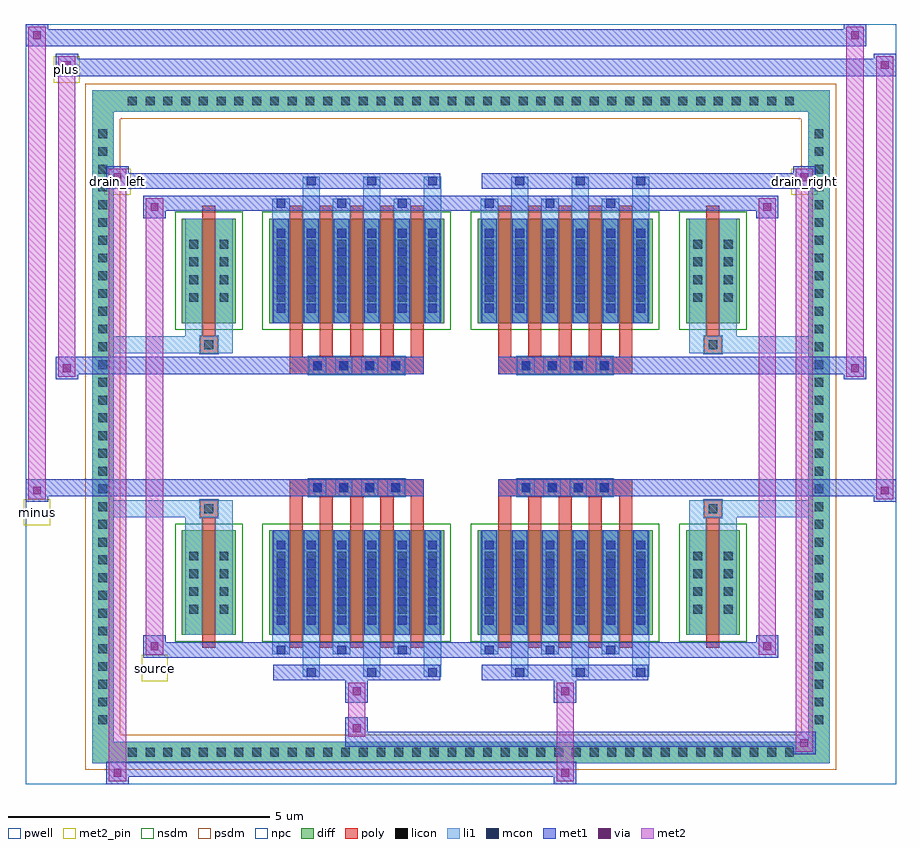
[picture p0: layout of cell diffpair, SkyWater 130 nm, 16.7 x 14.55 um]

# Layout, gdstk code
import gdstk
lib = gdstk.Library(unit=1e-6, precision=5e-09)
def R(c, l, rs):  # rectangles x0, y0, x1, y1
    for r in rs: c.add(gdstk.rectangle(r[:2], r[2:], *l))
def A(c, l, x, y, w, h, nx, ny, dx, dy):  # array of equal rectangles
    R(c, l, [(x+i*dx, y+j*dy, x+i*dx+w, y+j*dy+h) for i in range(nx) for j in range(ny)])
def P(c, l, *ps):  # polygons
    for p in ps: c.add(gdstk.Polygon(p, *l))
pwell = (64, 44)
diff = (65, 20)
poly = (66, 20)
licon = (66, 44)
li1 = (67, 20)
mcon = (67, 44)
met1 = (68, 20)
via = (68, 44)
met2_pin = (69, 16)
met2 = (69, 20)
nsdm = (93, 44)
psdm = (94, 20)
npc = (95, 20)

diffpair = lib.new_cell('diffpair')
R(diffpair, pwell, [(-8.33,-6.84,8.33,7.71), (-5.65,-5.03,-0.01,-0.805), (0.01,-5.03,5.65,-0.805), (-5.65,0.805,-0.01,5.03), (0.01,0.805,5.65,5.03)])
A(diffpair, diff, -6.495, -6.44, 0.41, 0.41, 38, 2, 0.34, 12.47)
A(diffpair, diff, -7.06, -5.815, 0.41, 0.41, 1, 34, 0, 0.34)
A(diffpair, diff, 6.65, -5.815, 0.41, 0.41, 1, 34, 0, 0.34)
R(diffpair, diff, [(-6.495,-6.44,6.495,-6.03), (-7.06,-5.815,-6.65,5.815), (6.65,-5.815,7.06,5.815), (-5.34,-3.985,-4.31,-1.985), (-3.67,-3.985,-0.32,-1.985), (0.32,-3.985,3.67,-1.985), (4.31,-3.985,5.34,-1.985), (-5.34,1.985,-4.31,3.985), (-3.67,1.985,-0.32,3.985), (0.32,1.985,3.67,3.985), (4.31,1.985,5.34,3.985), (-6.495,6.03,6.495,6.44)])
P(diffpair, diff, [(7.06,6.44),(-7.06,6.44),(-7.06,-6.03),(-6.65,-6.03),(-6.65,6.03),(6.65,6.03),(6.65,-6.03),(-6.65,-6.03),(-7.06,-6.03),(-7.06,-6.44),(7.06,-6.44)])
A(diffpair, poly, -3.28, -4.235, 0.25, 2.5, 5, 2, 0.58, 5.97)
A(diffpair, poly, 0.71, -4.235, 0.25, 2.5, 5, 2, 0.58, 5.97)
A(diffpair, poly, -3.28, -1.735, 0.25, 0.4, 5, 2, 0.58, 3.07)
A(diffpair, poly, 0.71, -1.735, 0.25, 0.4, 5, 2, 0.58, 3.07)
A(diffpair, poly, -2.91, -1.335, 0.33, 0.33, 4, 2, 0.5, 2.34)
A(diffpair, poly, 1.08, -1.335, 0.33, 0.33, 4, 2, 0.5, 2.34)
R(diffpair, poly, [(-4.95,-4.235,-4.7,-1.735), (4.7,-4.235,4.95,-1.735), (-4.99,-1.735,-4.66,-1.405), (-4.99,-1.735,-4.66,-1.405), (4.66,-1.735,4.99,-1.405), (4.66,-1.735,4.99,-1.405), (-3.28,-1.335,-0.71,-1.005), (0.71,-1.335,3.28,-1.005), (-3.28,1.005,-0.71,1.335), (0.71,1.005,3.28,1.335), (-4.99,1.405,-4.66,1.735), (-4.99,1.405,-4.66,1.735), (4.66,1.405,4.99,1.735), (4.66,1.405,4.99,1.735), (-4.95,1.735,-4.7,4.235), (4.7,1.735,4.95,4.235)])
A(diffpair, licon, -6.375, -6.32, 0.17, 0.17, 38, 2, 0.34, 12.47)
A(diffpair, licon, -6.94, -5.695, 0.17, 0.17, 1, 34, 0, 0.34)
A(diffpair, licon, 6.77, -5.695, 0.17, 0.17, 1, 34, 0, 0.34)
A(diffpair, licon, -5.2, -3.58, 0.17, 0.17, 1, 4, 0, 0.34)
A(diffpair, licon, -4.62, -3.58, 0.17, 0.17, 1, 4, 0, 0.34)
A(diffpair, licon, -3.53, -3.58, 0.17, 0.17, 6, 4, 0.58, 0.34)
A(diffpair, licon, 0.46, -3.58, 0.17, 0.17, 6, 4, 0.58, 0.34)
A(diffpair, licon, 4.45, -3.58, 0.17, 0.17, 1, 4, 0, 0.34)
A(diffpair, licon, 5.03, -3.58, 0.17, 0.17, 1, 4, 0, 0.34)
A(diffpair, licon, -2.83, -1.255, 0.17, 0.17, 4, 2, 0.5, 2.34)
A(diffpair, licon, 1.16, -1.255, 0.17, 0.17, 4, 2, 0.5, 2.34)
A(diffpair, licon, -5.2, 2.39, 0.17, 0.17, 1, 4, 0, 0.34)
A(diffpair, licon, -4.62, 2.39, 0.17, 0.17, 1, 4, 0, 0.34)
A(diffpair, licon, -3.53, 2.39, 0.17, 0.17, 6, 4, 0.58, 0.34)
A(diffpair, licon, 0.46, 2.39, 0.17, 0.17, 6, 4, 0.58, 0.34)
A(diffpair, licon, 4.45, 2.39, 0.17, 0.17, 1, 4, 0, 0.34)
A(diffpair, licon, 5.03, 2.39, 0.17, 0.17, 1, 4, 0, 0.34)
R(diffpair, licon, [(-4.91,-1.655,-4.74,-1.485), (4.74,-1.655,4.91,-1.485), (-4.91,1.485,-4.74,1.655), (4.74,1.485,4.91,1.655)])
A(diffpair, li1, -6.455, -6.4, 0.33, 0.33, 38, 2, 0.34, 12.47)
A(diffpair, li1, -7.02, -5.775, 0.33, 0.33, 1, 34, 0, 0.34)
A(diffpair, li1, 6.69, -5.775, 0.33, 0.33, 1, 34, 0, 0.34)
A(diffpair, li1, -3.03, -4.79, 0.33, 0.805, 3, 2, 1.16, 8.775)
A(diffpair, li1, -2.95, -4.79, 0.17, 0.17, 3, 2, 1.16, 9.41)
A(diffpair, li1, 0.96, -4.79, 0.33, 0.805, 3, 2, 1.16, 8.775)
A(diffpair, li1, 1.04, -4.79, 0.17, 0.17, 3, 2, 1.16, 9.41)
A(diffpair, li1, -3.61, -4.36, 0.33, 0.375, 3, 2, 1.16, 8.345)
A(diffpair, li1, -3.53, -4.36, 0.17, 0.17, 3, 2, 1.16, 8.55)
A(diffpair, li1, 0.38, -4.36, 0.33, 0.375, 3, 2, 1.16, 8.345)
A(diffpair, li1, 0.46, -4.36, 0.17, 0.17, 3, 2, 1.16, 8.55)
A(diffpair, li1, -3.61, -3.985, 0.33, 2, 6, 2, 0.58, 5.97)
A(diffpair, li1, 0.38, -3.985, 0.33, 2, 6, 2, 0.58, 5.97)
A(diffpair, li1, -3.53, -3.79, 0.17, 0.17, 6, 5, 0.58, 0.36)
A(diffpair, li1, -3.53, -3.79, 0.17, 1.61, 6, 2, 0.58, 5.97)
A(diffpair, li1, 0.46, -3.79, 0.17, 0.17, 6, 5, 0.58, 0.36)
A(diffpair, li1, 0.46, -3.79, 0.17, 1.61, 6, 2, 0.58, 5.97)
A(diffpair, li1, -5.28, -3.66, 0.33, 0.33, 1, 4, 0, 0.34)
A(diffpair, li1, -4.7, -3.66, 0.33, 0.33, 1, 4, 0, 0.34)
A(diffpair, li1, -3.61, -3.66, 0.33, 0.33, 6, 4, 0.58, 0.34)
A(diffpair, li1, 0.38, -3.66, 0.33, 0.33, 6, 4, 0.58, 0.34)
A(diffpair, li1, 4.37, -3.66, 0.33, 0.33, 1, 4, 0, 0.34)
A(diffpair, li1, 4.95, -3.66, 0.33, 0.33, 1, 4, 0, 0.34)
A(diffpair, li1, -2.91, -1.335, 0.33, 0.33, 4, 2, 0.5, 2.34)
A(diffpair, li1, 1.08, -1.335, 0.33, 0.33, 4, 2, 0.5, 2.34)
A(diffpair, li1, -3.53, 2.18, 0.17, 0.17, 6, 5, 0.58, 0.36)
A(diffpair, li1, 0.46, 2.18, 0.17, 0.17, 6, 5, 0.58, 0.36)
A(diffpair, li1, -5.28, 2.31, 0.33, 0.33, 1, 4, 0, 0.34)
A(diffpair, li1, -4.7, 2.31, 0.33, 0.33, 1, 4, 0, 0.34)
A(diffpair, li1, -3.61, 2.31, 0.33, 0.33, 6, 4, 0.58, 0.34)
A(diffpair, li1, 0.38, 2.31, 0.33, 0.33, 6, 4, 0.58, 0.34)
A(diffpair, li1, 4.37, 2.31, 0.33, 0.33, 1, 4, 0, 0.34)
A(diffpair, li1, 4.95, 2.31, 0.33, 0.33, 1, 4, 0, 0.34)
R(diffpair, li1, [(-7.06,-6.44,-6.65,-6.03), (-7.06,-6.44,-6.65,-6.03), (-6.65,-6.44,6.65,-6.03), (6.65,-6.44,7.06,-6.03), (6.65,-6.44,7.06,-6.03), (-7.06,-6.03,-6.65,6.03), (6.65,-6.03,7.06,6.03), (-5.28,-3.985,-4.95,-1.985), (-4.7,-3.985,-4.37,-1.985), (4.37,-3.985,4.7,-1.985), (4.95,-3.985,5.28,-1.985), (-5.28,-1.985,-4.95,-1.405), (-4.7,-1.985,-4.37,-1.405), (4.37,-1.985,4.7,-1.405), (4.95,-1.985,5.28,-1.405), (-7.06,-1.735,-4.99,-1.405), (-5.28,-1.735,-4.99,-1.405), (-4.99,-1.735,-4.66,-1.405), (-4.66,-1.735,-4.37,-1.405), (4.37,-1.735,4.66,-1.405), (4.66,-1.735,4.99,-1.405), (4.66,-1.735,7.06,-1.405), (4.99,-1.735,5.28,-1.405), (-7.06,1.405,-4.99,1.735), (-5.28,1.405,-4.99,1.735), (-5.28,1.405,-4.95,1.985), (-4.99,1.405,-4.66,1.735), (-4.7,1.405,-4.37,1.985), (-4.66,1.405,-4.37,1.735), (4.37,1.405,4.66,1.735), (4.37,1.405,4.7,1.985), (4.66,1.405,4.99,1.735), (4.66,1.405,7.06,1.735), (4.95,1.405,5.28,1.985), (4.99,1.405,5.28,1.735), (-5.28,1.985,-4.95,3.985), (-4.7,1.985,-4.37,3.985), (4.37,1.985,4.7,3.985), (4.95,1.985,5.28,3.985), (-7.06,6.03,-6.65,6.44), (-7.06,6.03,-6.65,6.44), (-6.65,6.03,6.65,6.44), (6.65,6.03,7.06,6.44), (6.65,6.03,7.06,6.44)])
A(diffpair, mcon, -2.95, -4.79, 0.17, 0.17, 3, 2, 1.16, 9.41)
A(diffpair, mcon, 1.04, -4.79, 0.17, 0.17, 3, 2, 1.16, 9.41)
A(diffpair, mcon, -3.53, -4.36, 0.17, 0.17, 3, 2, 1.16, 8.55)
A(diffpair, mcon, 0.46, -4.36, 0.17, 0.17, 3, 2, 1.16, 8.55)
A(diffpair, mcon, -3.53, -3.79, 0.17, 0.17, 6, 5, 0.58, 0.36)
A(diffpair, mcon, 0.46, -3.79, 0.17, 0.17, 6, 5, 0.58, 0.36)
A(diffpair, mcon, -2.83, -1.255, 0.17, 0.17, 4, 2, 0.5, 2.34)
A(diffpair, mcon, 1.16, -1.255, 0.17, 0.17, 4, 2, 0.5, 2.34)
A(diffpair, mcon, -3.53, 2.18, 0.17, 0.17, 6, 5, 0.58, 0.36)
A(diffpair, mcon, 0.46, 2.18, 0.17, 0.17, 6, 5, 0.58, 0.36)
A(diffpair, met1, -3.01, -4.85, 0.29, 0.29, 3, 2, 1.16, 9.41)
A(diffpair, met1, 0.98, -4.85, 0.29, 0.29, 3, 2, 1.16, 9.41)
A(diffpair, met1, -3.59, -4.42, 0.29, 0.29, 3, 2, 1.16, 8.55)
A(diffpair, met1, 0.4, -4.42, 0.29, 0.29, 3, 2, 1.16, 8.55)
A(diffpair, met1, -3.59, -3.985, 0.29, 2, 6, 2, 0.58, 5.97)
A(diffpair, met1, 0.4, -3.985, 0.29, 2, 6, 2, 0.58, 5.97)
A(diffpair, met1, -3.59, -3.85, 0.29, 0.29, 6, 5, 0.58, 0.36)
A(diffpair, met1, 0.4, -3.85, 0.29, 0.29, 6, 5, 0.58, 0.36)
A(diffpair, met1, -2.89, -1.315, 0.29, 0.29, 4, 2, 0.5, 2.34)
A(diffpair, met1, 1.1, -1.315, 0.29, 0.29, 4, 2, 0.5, 2.34)
A(diffpair, met1, -3.59, 2.12, 0.29, 0.29, 6, 5, 0.58, 0.36)
A(diffpair, met1, 0.4, 2.12, 0.29, 0.29, 6, 5, 0.58, 0.36)
R(diffpair, met1, [(-6.79,-6.84,-6.36,-6.41), (1.78,-6.84,2.21,-6.41), (-6.79,-6.7,2.21,-6.41), (6.36,-6.27,6.79,-5.84), (-2.21,-6.13,6.79,-5.84), (-2.21,-5.99,-1.78,-5.56), (-2.21,-5.28,-1.78,-4.85), (1.78,-5.28,2.21,-4.85), (-3.59,-4.85,-0.4,-4.56), (0.4,-4.85,3.59,-4.56), (-6.08,-4.42,-5.65,-3.99), (-6.08,-4.42,-3.59,-4.13), (-3.59,-4.42,-0.4,-4.13), (-0.4,-4.42,0.4,-4.13), (0.4,-4.42,3.59,-4.13), (3.59,-4.42,6.08,-4.13), (5.65,-4.42,6.08,-3.99), (-8.33,-1.435,-7.9,-1.005), (7.9,-1.435,8.33,-1.005), (-8.33,-1.335,-0.71,-1.005), (-3.28,-1.335,-0.71,-1.005), (0.71,-1.335,3.28,-1.005), (0.71,-1.335,8.33,-1.005), (-7.76,0.905,-7.33,1.335), (7.33,0.905,7.76,1.335), (-7.76,1.005,-3.28,1.335), (-3.28,1.005,-0.71,1.335), (0.71,1.005,3.28,1.335), (3.28,1.005,7.76,1.335), (-6.08,3.99,-5.65,4.42), (5.65,3.99,6.08,4.42), (-6.08,4.13,-3.59,4.42), (-3.59,4.13,-0.4,4.42), (-0.4,4.13,0.4,4.42), (0.4,4.13,3.59,4.42), (3.59,4.13,6.08,4.42), (-6.79,4.56,-6.36,4.99), (-6.79,4.56,-3.59,4.85), (-3.59,4.56,-0.4,4.85), (0.4,4.56,3.59,4.85), (3.59,4.56,6.79,4.85), (6.36,4.56,6.79,4.99), (-7.76,6.71,-7.33,7.14), (-7.76,6.71,-5.65,7.04), (-5.65,6.71,5.65,7.04), (5.65,6.71,8.33,7.04), (7.9,6.71,8.33,7.14), (-8.33,7.28,-7.9,7.71), (-8.33,7.28,-5.65,7.61), (-5.65,7.28,5.65,7.61), (5.65,7.28,7.76,7.61), (7.33,7.28,7.76,7.71)])
R(diffpair, via, [(-6.65,-6.7,-6.5,-6.55), (1.92,-6.7,2.07,-6.55), (6.5,-6.13,6.65,-5.98), (-2.07,-5.85,-1.92,-5.7), (-2.07,-5.14,-1.92,-4.99), (1.92,-5.14,2.07,-4.99), (-5.94,-4.28,-5.79,-4.13), (5.79,-4.28,5.94,-4.13), (-8.19,-1.295,-8.04,-1.145), (8.04,-1.295,8.19,-1.145), (-7.62,1.045,-7.47,1.195), (7.47,1.045,7.62,1.195), (-5.94,4.13,-5.79,4.28), (5.79,4.13,5.94,4.28), (-6.65,4.7,-6.5,4.85), (6.5,4.7,6.65,4.85), (-7.62,6.85,-7.47,7), (8.04,6.85,8.19,7), (-8.19,7.42,-8.04,7.57), (7.47,7.42,7.62,7.57)])
R(diffpair, met2_pin, [(-6.115,-4.87,-5.615,-4.37), (-8.365,-1.885,-7.865,-1.385), (-6.825,4.44,-6.325,4.94), (6.325,4.44,6.825,4.94), (-7.795,6.59,-7.295,7.09)])
R(diffpair, met2, [(-6.74,-6.79,-6.41,-6.46), (-6.74,-6.79,-6.41,4.94), (1.83,-6.79,2.16,-6.46), (1.83,-6.46,2.16,-5.23), (6.41,-6.22,6.74,-5.89), (6.41,-6.22,6.74,4.94), (-2.16,-5.94,-1.83,-5.61), (-2.16,-5.61,-1.83,-5.23), (-2.16,-5.23,-1.83,-4.9), (1.83,-5.23,2.16,-4.9), (-6.03,-4.37,-5.7,-4.04), (-6.03,-4.37,-5.7,4.37), (5.7,-4.37,6.03,-4.04), (5.7,-4.37,6.03,4.37), (-8.28,-1.385,-7.95,-1.055), (-8.28,-1.385,-7.95,7.66), (7.95,-1.385,8.28,-1.055), (7.95,-1.385,8.28,7.09), (-7.71,0.955,-7.38,1.285), (-7.71,0.955,-7.38,7.09), (7.38,0.955,7.71,1.285), (7.38,0.955,7.71,7.66), (-6.03,4.04,-5.7,4.37), (5.7,4.04,6.03,4.37), (-6.74,4.61,-6.41,4.94), (6.41,4.61,6.74,4.94), (-7.71,6.76,-7.38,7.09), (7.95,6.76,8.28,7.09), (-8.28,7.33,-7.95,7.66), (7.38,7.33,7.71,7.66)])
P(diffpair, met2, [(8.28,-1.385),(8.28,-1.385),(8.28,-1.055),(8.28,-1.055)],
  [(8.28,6.76),(8.28,6.76),(8.28,7.09),(8.28,7.09)],
  [(-7.95,-1.385),(-7.95,-1.385),(-7.95,-1.055),(-7.95,-1.055)],
  [(-7.95,7.33),(-7.95,7.33),(-7.95,7.66),(-7.95,7.66)],
  [(7.71,0.955),(7.71,0.955),(7.71,1.285),(7.71,1.285)],
  [(7.71,7.33),(7.71,7.33),(7.71,7.66),(7.71,7.66)],
  [(-7.38,0.955),(-7.38,0.955),(-7.38,1.285),(-7.38,1.285)],
  [(-7.38,6.76),(-7.38,6.76),(-7.38,7.09),(-7.38,7.09)],
  [(-6.41,-6.79),(-6.41,-6.79),(-6.41,-6.46),(-6.41,-6.46)],
  [(-6.41,4.61),(-6.41,4.61),(-6.41,4.94),(-6.41,4.94)],
  [(6.74,-6.22),(6.74,-6.22),(6.74,-5.89),(6.74,-5.89)],
  [(6.74,4.61),(6.74,4.61),(6.74,4.94),(6.74,4.94)],
  [(-5.7,-4.37),(-5.7,-4.37),(-5.7,-4.04),(-5.7,-4.04)],
  [(-5.7,4.04),(-5.7,4.04),(-5.7,4.37),(-5.7,4.37)],
  [(6.03,-4.37),(6.03,-4.37),(6.03,-4.04),(6.03,-4.04)],
  [(6.03,4.04),(6.03,4.04),(6.03,4.37),(6.03,4.37)])
R(diffpair, nsdm, [(-5.47,-4.115,-4.18,-1.855), (-3.8,-4.115,-0.19,-1.855), (0.19,-4.115,3.8,-1.855), (4.18,-4.115,5.47,-1.855), (-5.47,1.855,-4.18,4.115), (-3.8,1.855,-0.19,4.115), (0.19,1.855,3.8,4.115), (4.18,1.855,5.47,4.115)])
P(diffpair, psdm, [(7.19,6.57),(-7.19,6.57),(-7.19,-5.9),(-6.52,-5.9),(-6.52,5.9),(6.52,5.9),(6.52,-5.9),(-6.52,-5.9),(-7.19,-5.9),(-7.19,-6.57),(7.19,-6.57)])
A(diffpair, npc, -2.93, -1.355, 0.37, 0.37, 4, 2, 0.5, 2.34)
A(diffpair, npc, 1.06, -1.355, 0.37, 0.37, 4, 2, 0.5, 2.34)
R(diffpair, npc, [(-5.01,-1.755,-4.64,-1.385), (4.64,-1.755,5.01,-1.385), (-2.93,-1.355,-2.06,-0.985), (-2.93,-1.355,-2.06,-0.985), (-2.43,-1.355,-1.56,-0.985), (-2.43,-1.355,-1.56,-0.985), (-1.93,-1.355,-1.06,-0.985), (-1.93,-1.355,-1.06,-0.985), (1.06,-1.355,1.93,-0.985), (1.06,-1.355,1.93,-0.985), (1.56,-1.355,2.43,-0.985), (1.56,-1.355,2.43,-0.985), (2.06,-1.355,2.93,-0.985), (2.06,-1.355,2.93,-0.985), (-2.93,0.985,-2.06,1.355), (-2.93,0.985,-2.06,1.355), (-2.43,0.985,-1.56,1.355), (-2.43,0.985,-1.56,1.355), (-1.93,0.985,-1.06,1.355), (-1.93,0.985,-1.06,1.355), (1.06,0.985,1.93,1.355), (1.06,0.985,1.93,1.355), (1.56,0.985,2.43,1.355), (1.56,0.985,2.43,1.355), (2.06,0.985,2.93,1.355), (2.06,0.985,2.93,1.355), (-5.01,1.385,-4.64,1.755), (4.64,1.385,5.01,1.755)])
diffpair.add(gdstk.Label('minus', (-8.115,-1.635), layer=69, texttype=5))
diffpair.add(gdstk.Label('drain_right', (6.575,4.69), layer=69, texttype=5))
diffpair.add(gdstk.Label('drain_left', (-6.575,4.69), layer=69, texttype=5))
diffpair.add(gdstk.Label('source', (-5.865,-4.62), layer=69, texttype=5))
diffpair.add(gdstk.Label('plus', (-7.545,6.84), layer=69, texttype=5))

lib.write_gds('diffpair.gds')
